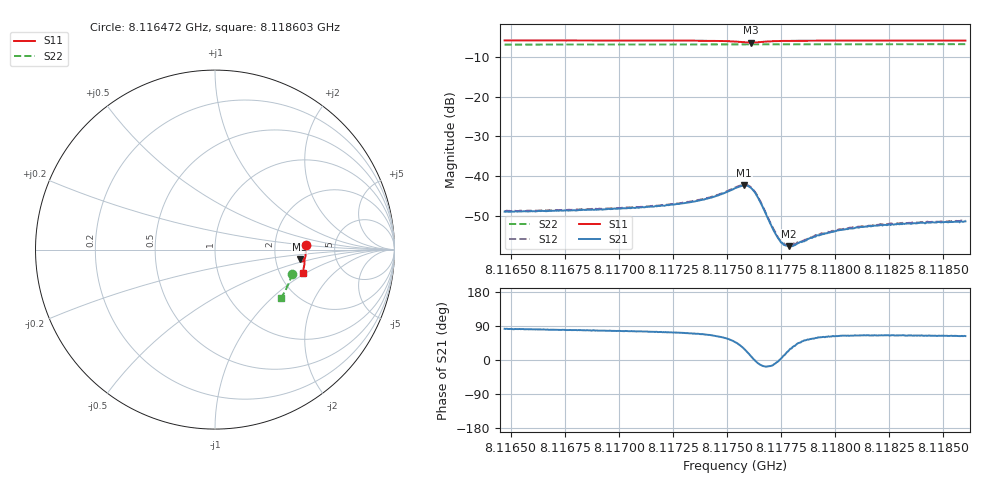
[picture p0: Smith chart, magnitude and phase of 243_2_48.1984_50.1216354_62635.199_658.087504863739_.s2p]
#  HZ  S  RI  R  50.00
! Rohde & Schwarz Vector Network Analyzer
! Rohde-Schwarz,ZNB20-2Port,1311601062101988,3.16
! Created: UTC 3/20/2024, 11:46:56 AM
! freq[Hz]  re:S11  im:S11  re:S21  im:S21  re:S12  im:S12  re:S22  im:S22
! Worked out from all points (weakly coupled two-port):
!   401 points, 8.116472 GHz to 8.118603 GHz, reference 50 ohm
!   highest |S21| = -42.28 dB at 8.11758 GHz (marker M1); lowest = -57.5 dB at 8.117788 GHz (marker M2)
!   lowest |S11| = -6.4 dB at 8.117612 GHz (marker M3), VSWR 2.82, Z = 138 - j19.5 ohm
!   |S11| at or under -10 dB: nowhere
!   |S22| runs from -6.9 to -6.8 dB; largest |S21 - S12| = 0.0002
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8.1164724e9  0.5063 0.0231  0.000483 0.00357  0.000566 0.00361  0.4291 -0.1339
8.1168293e9  0.5063 -0.00428  0.000745 0.00371  0.00078 0.0038  0.422 -0.1576
8.1171862e9  0.5043 -0.0326  0.00118 0.00409  0.00123 0.00413  0.4135 -0.1812
8.1172821e9  0.503 -0.0409  0.0014 0.00431  0.00143 0.00437  0.4111 -0.1873
8.1173833e9  0.5007 -0.0504  0.00187 0.00471  0.002 0.00473  0.4083 -0.194
8.1174525e9  0.4975 -0.0579  0.00257 0.00509  0.00266 0.00518  0.4063 -0.1985
8.1175378e9  0.4868 -0.0663  0.0048 0.00522  0.00493 0.00531  0.4031 -0.2038
8.1175804e9  0.4767 -0.0641  0.00671 0.00376  0.00688 0.00377  0.4016 -0.2062
8.1175964e9  0.4738 -0.0599  0.00718 0.00256  0.00731 0.00255  0.4013 -0.2068
8.1176123e9  0.4733 -0.0547  0.00702 0.00117  0.00718 0.00116  0.4007 -0.2076
8.1176283e9  0.4753 -0.0498  0.00637 7.66e-06  0.00647 -0.000128  0.4006 -0.2082
8.1176443e9  0.4794 -0.0469  0.00534 -0.000812  0.00541 -0.000847  0.4002 -0.2093
8.1177136e9  0.4938 -0.0512  0.00212 -0.000514  0.00216 -0.000533  0.3988 -0.2136
8.1177402e9  0.4961 -0.0548  0.00164 -5.38e-05  0.00163 -6.15e-05  0.3983 -0.2154
8.1177615e9  0.4972 -0.0576  0.00137 0.000271  0.00145 0.000278  0.3976 -0.217
8.1177881e9  0.498 -0.061  0.00119 0.000585  0.00123 0.000576  0.3966 -0.2187
8.1178148e9  0.4986 -0.064  0.00109 0.000834  0.00111 0.000883  0.3958 -0.2204
8.1178947e9  0.4987 -0.0723  0.000941 0.00141  0.000989 0.00141  0.3933 -0.2255
8.117932e9  0.4985 -0.0759  0.00093 0.0016  0.000959 0.00158  0.3921 -0.2278
8.1180225e9  0.4977 -0.0837  0.000939 0.0019  0.000981 0.00194  0.3892 -0.2336
8.1182516e9  0.4945 -0.1021  0.00106 0.00224  0.00108 0.00231  0.3813 -0.2474
8.1186032e9  0.4883 -0.1284  0.00123 0.00243  0.00125 0.00247  0.368 -0.2684
